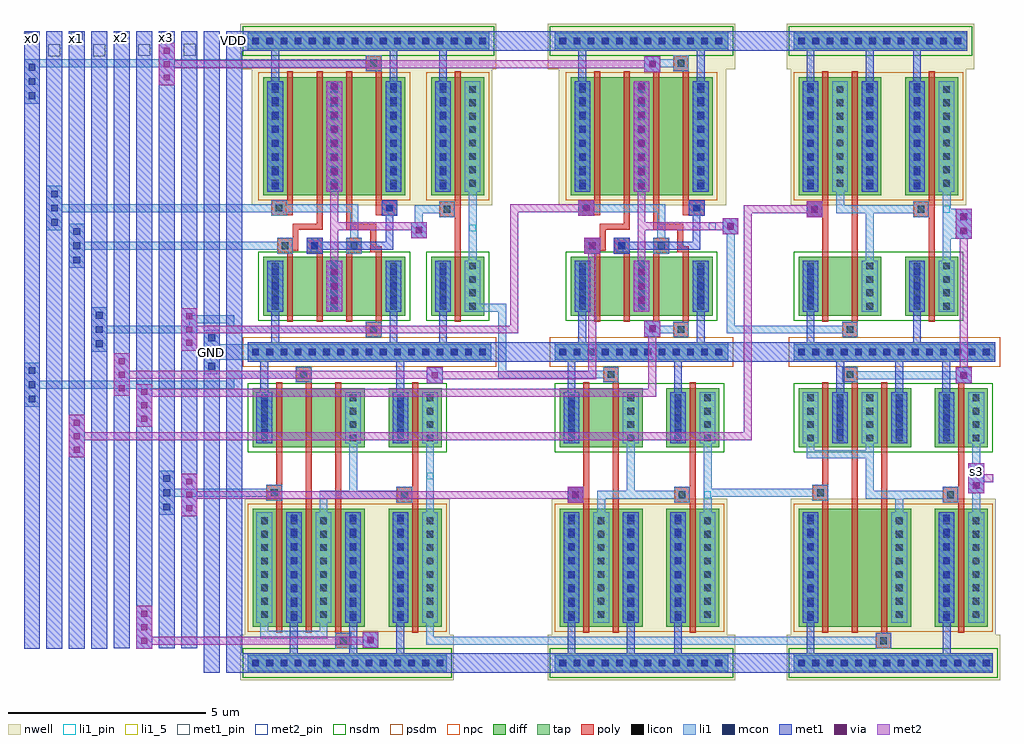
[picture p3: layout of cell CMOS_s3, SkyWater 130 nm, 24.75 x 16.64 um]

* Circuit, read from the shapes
.subckt CMOS_s3 GND VDD s3 x0 x0_bar x1 x1_bar x2 x2_bar x3 x3_bar
XM1 n1 x3 GND GND sky130_fd_pr__nfet_01v8 w=1.5 l=0.15
XM2 n2 x1 GND GND sky130_fd_pr__nfet_01v8 w=1.5 l=0.15
XM3 n3 x0 n1 GND sky130_fd_pr__nfet_01v8 w=1.5 l=0.15
XM4 n4 x0 n2 GND sky130_fd_pr__nfet_01v8 w=1.5 l=0.15
XM5 n5 x2_bar n3 GND sky130_fd_pr__nfet_01v8 w=1.5 l=0.15
XM6 n6 x0_bar n4 GND sky130_fd_pr__nfet_01v8 w=1.5 l=0.15
XM7 GND x1_bar n6 GND sky130_fd_pr__nfet_01v8 w=1.5 l=0.15
XM8 CMOS_3in_OR_4/C n5 GND GND sky130_fd_pr__nfet_01v8 w=1.5 l=0.15
XM9 CMOS_AND_2/A n4 GND GND sky130_fd_pr__nfet_01v8 w=1.5 l=0.15
XM10 n7 x3_bar GND GND sky130_fd_pr__nfet_01v8 w=1.5 l=0.15
XM11 n8 x2 GND GND sky130_fd_pr__nfet_01v8 w=1.5 l=0.15
XM12 n9 CMOS_AND_2/A n7 GND sky130_fd_pr__nfet_01v8 w=1.5 l=0.15
XM13 CMOS_AND_3/A x3 n8 GND sky130_fd_pr__nfet_01v8 w=1.5 l=0.15
XM14 n10 x3_bar CMOS_AND_3/A GND sky130_fd_pr__nfet_01v8 w=1.5 l=0.15
XM15 GND x2_bar n10 GND sky130_fd_pr__nfet_01v8 w=1.5 l=0.15
XM16 CMOS_3in_OR_4/A n9 GND GND sky130_fd_pr__nfet_01v8 w=1.5 l=0.15
XM17 GND CMOS_3in_OR_4/A n11 GND sky130_fd_pr__nfet_01v8 w=1.5 l=0.15
XM18 n12 x1 GND GND sky130_fd_pr__nfet_01v8 w=1.5 l=0.15
XM19 n11 CMOS_AND_3/AND GND GND sky130_fd_pr__nfet_01v8 w=1.5 l=0.15
XM20 n13 CMOS_AND_3/A n12 GND sky130_fd_pr__nfet_01v8 w=1.5 l=0.15
XM21 GND CMOS_3in_OR_4/C n11 GND sky130_fd_pr__nfet_01v8 w=1.5 l=0.15
XM22 CMOS_AND_3/AND n13 GND GND sky130_fd_pr__nfet_01v8 w=1.5 l=0.15
XM23 s3 n11 GND GND sky130_fd_pr__nfet_01v8 w=1.5 l=0.15
XM24 VDD x3 n5 VDD sky130_fd_pr__pfet_01v8 w=3 l=0.15
XM25 n14 x0_bar VDD VDD sky130_fd_pr__pfet_01v8 w=3 l=0.15
XM26 n5 x0 VDD VDD sky130_fd_pr__pfet_01v8 w=3 l=0.15
XM27 n4 x1 n14 VDD sky130_fd_pr__pfet_01v8 w=3 l=0.15
XM28 VDD x2_bar n5 VDD sky130_fd_pr__pfet_01v8 w=3 l=0.15
XM29 n15 x1_bar n4 VDD sky130_fd_pr__pfet_01v8 w=3 l=0.15
XM30 VDD x0 n15 VDD sky130_fd_pr__pfet_01v8 w=3 l=0.15
XM31 CMOS_3in_OR_4/C n5 VDD VDD sky130_fd_pr__pfet_01v8 w=3 l=0.15
XM32 CMOS_AND_2/A n4 VDD VDD sky130_fd_pr__pfet_01v8 w=3 l=0.15
XM33 n9 x3_bar VDD VDD sky130_fd_pr__pfet_01v8 w=3 l=0.15
XM34 n16 x3_bar VDD VDD sky130_fd_pr__pfet_01v8 w=3 l=0.15
XM35 VDD CMOS_AND_2/A n9 VDD sky130_fd_pr__pfet_01v8 w=3 l=0.15
XM36 CMOS_AND_3/A x2 n16 VDD sky130_fd_pr__pfet_01v8 w=3 l=0.15
XM37 n17 x2_bar CMOS_AND_3/A VDD sky130_fd_pr__pfet_01v8 w=3 l=0.15
XM38 VDD x3 n17 VDD sky130_fd_pr__pfet_01v8 w=3 l=0.15
XM39 CMOS_3in_OR_4/A n9 VDD VDD sky130_fd_pr__pfet_01v8 w=3 l=0.15
XM40 n18 CMOS_3in_OR_4/A VDD VDD sky130_fd_pr__pfet_01v8 w=3 l=0.15
XM41 n13 x1 VDD VDD sky130_fd_pr__pfet_01v8 w=3 l=0.15
XM42 n19 CMOS_AND_3/AND n18 VDD sky130_fd_pr__pfet_01v8 w=3 l=0.15
XM43 VDD CMOS_AND_3/A n13 VDD sky130_fd_pr__pfet_01v8 w=3 l=0.15
XM44 n11 CMOS_3in_OR_4/C n19 VDD sky130_fd_pr__pfet_01v8 w=3 l=0.15
XM45 CMOS_AND_3/AND n13 VDD VDD sky130_fd_pr__pfet_01v8 w=3 l=0.15
XM46 s3 n11 VDD VDD sky130_fd_pr__pfet_01v8 w=3 l=0.15
.ends

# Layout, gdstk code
import gdstk
lib = gdstk.Library(unit=1e-6, precision=1e-09)
def R(c, l, rs):  # rectangles x0, y0, x1, y1
    for r in rs: c.add(gdstk.rectangle(r[:2], r[2:], *l))
def A(c, l, x, y, w, h, nx, ny, dx, dy):  # array of equal rectangles
    R(c, l, [(x+i*dx, y+j*dy, x+i*dx+w, y+j*dy+h) for i in range(nx) for j in range(ny)])
nwell = (64, 20)
diff = (65, 20)
tap = (65, 44)
poly = (66, 20)
licon = (66, 44)
li1_5 = (67, 5)
li1_pin = (67, 16)
li1 = (67, 20)
mcon = (67, 44)
met1_pin = (68, 16)
met1 = (68, 20)
via = (68, 44)
met2_pin = (69, 16)
met2 = (69, 20)
nsdm = (93, 44)
psdm = (94, 20)
npc = (95, 20)

cmos_xor = lib.new_cell('CMOS_XOR')
R(cmos_xor, nwell, [(-2.1,-0.25,2.15,3.2), (-2.38,3.2,2.38,4.35)])
R(cmos_xor, diff, [(-1.8,-3.05,1.8,-1.55), (-1.8,0,1.8,3)])
R(cmos_xor, tap, [(-2.2,-4.22,2.2,-3.72), (-2.2,3.67,2.2,4.17)])
A(cmos_xor, poly, -1.2, -3.2, 0.15, 1.725, 3, 1, 0.75, 0)
R(cmos_xor, poly, [(0.8,-3.6,1.2,-3.2), (1.05,-3.2,1.2,-1.44), (-1.45,-1.475,-1.05,-1.4), (-0.7,-1.475,-0.3,-1.075), (0.3,-1.475,0.7,-1.075), (0.91,-1.44,1.2,-1.29), (-1.45,-1.4,-0.91,-1.075), (0.91,-1.29,1.06,-0.865), (-1.06,-1.075,-0.91,-0.865), (-1.06,-0.865,-0.3,-0.715), (0.3,-0.865,1.06,-0.715), (-0.45,-0.715,-0.3,3.15), (0.3,-0.715,0.45,3.15), (-1.6,-0.52,-1.2,-0.505), (1.2,-0.52,1.6,-0.505), (-1.6,-0.505,-1.05,-0.12), (1.05,-0.505,1.6,-0.12), (-1.2,-0.12,-1.05,3.15), (1.05,-0.12,1.2,3.15), (0.8,3.15,1.2,3.55)])
A(cmos_xor, licon, -2.085, -4.055, 0.17, 0.17, 12, 2, 0.36, 7.89)
A(cmos_xor, licon, -1.585, -2.895, 0.17, 0.17, 3, 4, 1.5, 0.34)
A(cmos_xor, licon, -1.585, 0.225, 0.17, 0.17, 3, 8, 1.5, 0.34)
R(cmos_xor, licon, [(0.915,-3.485,1.085,-3.315), (-1.335,-1.36,-1.165,-1.19), (-0.585,-1.36,-0.415,-1.19), (0.415,-1.36,0.585,-1.19), (-1.485,-0.405,-1.315,-0.235), (1.315,-0.405,1.485,-0.235), (0.915,3.265,1.085,3.435)])
R(cmos_xor, li1_pin, [(0.915,-3.485,1.085,-3.315), (-1.335,-1.36,-1.165,-1.19), (-1.515,-0.445,-1.27,-0.21), (0.915,3.265,1.085,3.435)])
A(cmos_xor, li1, -1.7, -2.95, 0.4, 1.3, 3, 1, 1.5, 0)
A(cmos_xor, li1, -1.7, 0.1, 0.4, 2.8, 3, 1, 1.5, 0)
R(cmos_xor, li1, [(-2.2,-4.17,2.2,-3.77), (0.8,-3.6,1.2,-3.2), (-1.45,-1.475,-1.05,-1.075), (-0.7,-1.475,-0.3,-1.075), (0.3,-1.475,0.7,-1.075), (0.4,-1.075,0.6,-0.42), (-1.6,-0.52,-1.2,-0.42), (1.2,-0.52,1.6,-0.12), (-1.6,-0.42,0.6,-0.22), (-1.6,-0.22,-1.2,-0.12), (0.8,3.15,1.2,3.55), (-2.2,3.72,2.2,4.12)])
A(cmos_xor, mcon, -2.085, -4.055, 0.17, 0.17, 12, 2, 0.36, 7.89)
A(cmos_xor, mcon, -1.585, -2.745, 0.17, 0.17, 3, 3, 1.5, 0.36)
A(cmos_xor, mcon, -1.585, 0.155, 0.17, 0.17, 3, 8, 1.5, 0.36)
R(cmos_xor, mcon, [(-0.585,-1.36,-0.415,-1.19), (1.315,-0.405,1.485,-0.235)])
R(cmos_xor, met1_pin, [(-0.3,-4.07,-0.1,-3.87), (-0.3,3.82,-0.1,4.02)])
A(cmos_xor, met1, -1.7, -2.95, 0.4, 1.3, 3, 1, 1.5, 0)
A(cmos_xor, met1, -1.7, 0.1, 0.4, 2.8, 3, 1, 1.5, 0)
R(cmos_xor, met1, [(-2.2,-4.22,2.2,-3.72), (-1.6,-3.72,-1.4,-2.95), (1.4,-3.72,1.6,-2.95), (-0.7,-1.475,-0.3,-1.375), (-0.7,-1.375,1.495,-1.175), (-0.7,-1.175,-0.3,-1.075), (1.3,-1.175,1.495,-0.52), (1.2,-0.52,1.6,-0.12), (-1.6,2.9,-1.4,3.67), (1.4,2.9,1.6,3.67), (-2.2,3.67,2.2,4.17)])
A(cmos_xor, via, -0.075, -2.735, 0.15, 0.15, 1, 3, 0, 0.36)
A(cmos_xor, via, -0.075, 0.165, 0.15, 0.15, 1, 8, 0, 0.36)
R(cmos_xor, met2_pin, [(1.7,-0.87,1.88,-0.69)])
R(cmos_xor, met2, [(-0.2,-2.95,0.2,-1.65), (-0.1,-1.65,0.1,-0.88), (-0.1,-0.88,2.15,-0.68), (-0.1,-0.68,0.1,0.1), (-0.2,0.1,0.2,2.9)])
R(cmos_xor, nsdm, [(-1.925,-3.175,1.925,-1.425), (-2.325,3.545,2.325,4.295)])
R(cmos_xor, psdm, [(-2.325,-4.345,2.325,-3.595), (-1.925,-0.125,1.925,3.125)])
R(cmos_xor, npc, [(0.815,-3.585,1.185,-3.215), (-1.435,-1.46,-1.065,-1.09), (-0.685,-1.46,-0.315,-1.09), (0.315,-1.46,0.685,-1.09), (-1.585,-0.505,-1.215,-0.135), (1.215,-0.505,1.585,-0.135), (0.815,3.165,1.185,3.535)])
cmos_xor.add(gdstk.Label('GND!', (-0.2,-3.97), layer=68, texttype=16))
cmos_xor.add(gdstk.Label('VDD', (-0.2,3.92), layer=68, texttype=16))
cmos_xor.add(gdstk.Label('B', (1,3.35), layer=67, texttype=16))
cmos_xor.add(gdstk.Label('A_bar', (1,-3.4), layer=67, texttype=16))
cmos_xor.add(gdstk.Label('A', (-1.25,-1.275), layer=67, texttype=16))
cmos_xor.add(gdstk.Label('B_bar', (-1.392,-0.327), layer=67, texttype=16))
cmos_xor.add(gdstk.Label('XOR', (1.79,-0.78), layer=69, texttype=16))

cmos_xnor = lib.new_cell('CMOS_XNOR')
R(cmos_xnor, nwell, [(-2.965,-0.25,3.14,3.2), (-3.245,3.2,3.245,4.35)])
R(cmos_xnor, diff, [(-2.665,-3.05,0.935,-1.55), (1.59,-3.05,2.94,-1.55), (-2.665,0,0.935,3), (1.59,0,2.94,3)])
R(cmos_xnor, tap, [(-3.065,-4.22,3.12,-3.72), (-3.065,3.67,3.065,4.17)])
A(cmos_xnor, poly, -2.065, -3.2, 0.15, 1.725, 3, 1, 0.75, 0)
R(cmos_xnor, poly, [(-0.065,-3.6,0.335,-3.2), (0.185,-3.2,0.335,-1.44), (2.19,-3.2,2.34,-0.55), (-2.315,-1.475,-1.915,-1.4), (-1.565,-1.475,-1.165,-1.075), (-0.565,-1.475,-0.165,-1.075), (0.045,-1.44,0.335,-1.29), (-2.315,-1.4,-1.775,-1.075), (0.045,-1.29,0.195,-0.865), (-1.925,-1.075,-1.775,-0.865), (-1.925,-0.865,-1.165,-0.715), (-0.565,-0.865,0.195,-0.715), (-1.315,-0.715,-1.165,3.15), (-0.565,-0.715,-0.415,3.15), (1.79,-0.55,2.34,-0.15), (-2.465,-0.52,-2.065,-0.505), (0.335,-0.52,0.735,-0.505), (-2.465,-0.505,-1.915,-0.12), (0.185,-0.505,0.735,-0.12), (2.19,-0.15,2.34,3.15), (-2.065,-0.12,-1.915,3.15), (0.185,-0.12,0.335,3.15), (-0.065,3.15,0.335,3.55)])
A(cmos_xnor, licon, -2.95, -4.055, 0.17, 0.17, 17, 2, 0.36, 7.89)
A(cmos_xnor, licon, -2.45, -2.895, 0.17, 0.17, 3, 4, 1.5, 0.34)
A(cmos_xnor, licon, 1.805, -2.895, 0.17, 0.17, 1, 4, 0, 0.34)
A(cmos_xnor, licon, 2.555, -2.895, 0.17, 0.17, 1, 4, 0, 0.34)
A(cmos_xnor, licon, -2.45, 0.225, 0.17, 0.17, 3, 8, 1.5, 0.34)
A(cmos_xnor, licon, 1.805, 0.225, 0.17, 0.17, 1, 8, 0, 0.34)
A(cmos_xnor, licon, 2.555, 0.225, 0.17, 0.17, 1, 8, 0, 0.34)
R(cmos_xnor, licon, [(0.05,-3.485,0.22,-3.315), (-2.2,-1.36,-2.03,-1.19), (-1.45,-1.36,-1.28,-1.19), (-0.45,-1.36,-0.28,-1.19), (1.905,-0.435,2.075,-0.265), (-2.35,-0.405,-2.18,-0.235), (0.45,-0.405,0.62,-0.235), (0.05,3.265,0.22,3.435)])
R(cmos_xnor, li1_5, [(1.905,-0.435,2.075,-0.265)])
R(cmos_xnor, li1_pin, [(0.05,-3.485,0.22,-3.315), (-2.2,-1.36,-2.03,-1.19), (2.555,-0.91,2.725,-0.74), (-2.38,-0.445,-2.135,-0.21), (0.05,3.265,0.22,3.435)])
A(cmos_xnor, li1, -2.565, -2.95, 0.4, 1.3, 3, 1, 1.5, 0)
A(cmos_xnor, li1, -2.565, 0.1, 0.4, 2.8, 3, 1, 1.5, 0)
R(cmos_xnor, li1, [(-3.065,-4.17,3.12,-3.77), (-0.065,-3.6,0.335,-3.2), (1.69,-2.95,2.09,-1.65), (2.44,-2.95,2.84,-1.65), (2.54,-1.65,2.74,0.1), (-2.315,-1.475,-1.915,-1.075), (-1.565,-1.475,-1.165,-1.075), (-0.565,-1.475,-0.165,-1.075), (1.08,-1.08,1.48,-0.68), (-0.465,-1.075,-0.265,-0.42), (1.18,-0.68,1.38,-0.45), (1.79,-0.55,2.19,-0.45), (-2.465,-0.52,-2.065,-0.42), (0.335,-0.52,0.735,-0.12), (1.18,-0.45,2.19,-0.25), (-2.465,-0.42,-0.265,-0.22), (1.79,-0.25,2.19,-0.15), (-2.465,-0.22,-2.065,-0.12), (1.69,0.1,2.09,2.9), (2.44,0.1,2.84,2.9), (-0.065,3.15,0.335,3.55), (-3.065,3.72,3.065,4.12)])
A(cmos_xnor, mcon, -2.95, -4.055, 0.17, 0.17, 17, 2, 0.36, 7.89)
A(cmos_xnor, mcon, -2.45, -2.745, 0.17, 0.17, 3, 3, 1.5, 0.36)
A(cmos_xnor, mcon, 1.805, -2.745, 0.17, 0.17, 1, 3, 0, 0.36)
A(cmos_xnor, mcon, -2.45, 0.155, 0.17, 0.17, 3, 8, 1.5, 0.36)
A(cmos_xnor, mcon, 1.805, 0.155, 0.17, 0.17, 1, 8, 0, 0.36)
R(cmos_xnor, mcon, [(-1.45,-1.36,-1.28,-1.19), (1.195,-0.965,1.365,-0.795), (0.45,-0.405,0.62,-0.235)])
R(cmos_xnor, met1_pin, [(-1.165,-4.07,-0.965,-3.87), (-1.165,3.82,-0.965,4.02)])
A(cmos_xnor, met1, -2.565, -2.95, 0.4, 1.3, 3, 1, 1.5, 0)
A(cmos_xnor, met1, -2.565, 0.1, 0.4, 2.8, 3, 1, 1.5, 0)
R(cmos_xnor, met1, [(-3.065,-4.22,3.12,-3.72), (-2.465,-3.72,-2.265,-2.95), (0.535,-3.72,0.735,-2.95), (1.79,-3.72,1.99,-2.95), (1.69,-2.95,2.09,-1.65), (-1.565,-1.475,-1.165,-1.375), (-1.565,-1.375,0.63,-1.175), (-1.565,-1.175,-1.165,-1.075), (0.435,-1.175,0.63,-0.52), (1.08,-1.08,1.48,-0.68), (0.335,-0.52,0.735,-0.12), (1.69,0.1,2.09,2.9), (-2.465,2.9,-2.265,3.67), (0.535,2.9,0.735,3.67), (1.79,2.9,1.99,3.67), (-3.065,3.67,3.065,4.17)])
A(cmos_xnor, via, -0.94, -2.735, 0.15, 0.15, 1, 3, 0, 0.36)
A(cmos_xnor, via, -0.94, 0.165, 0.15, 0.15, 1, 8, 0, 0.36)
R(cmos_xnor, via, [(1.205,-0.955,1.355,-0.805)])
R(cmos_xnor, met2, [(-1.065,-2.95,-0.665,-1.65), (-0.965,-1.65,-0.765,-0.88), (1.08,-1.08,1.48,-0.88), (-0.965,-0.88,1.48,-0.68), (-0.965,-0.68,-0.765,0.1), (-1.065,0.1,-0.665,2.9)])
R(cmos_xnor, nsdm, [(-2.79,-3.175,1.06,-1.425), (1.465,-3.175,3.065,-1.425), (-3.19,3.545,3.19,4.295)])
R(cmos_xnor, psdm, [(-3.19,-4.345,3.245,-3.595), (-2.79,-0.125,1.06,3.125), (1.465,-0.125,3.065,3.125)])
R(cmos_xnor, npc, [(-0.05,-3.585,0.32,-3.215), (-2.3,-1.46,-1.93,-1.09), (-1.55,-1.46,-1.18,-1.09), (-0.55,-1.46,-0.18,-1.09), (1.805,-0.535,2.175,-0.165), (-2.45,-0.505,-2.08,-0.135), (0.35,-0.505,0.72,-0.135), (-0.05,3.165,0.32,3.535)])
cmos_xnor.add(gdstk.Label('GND!', (-1.065,-3.97), layer=68, texttype=16))
cmos_xnor.add(gdstk.Label('VDD', (-1.065,3.92), layer=68, texttype=16))
cmos_xnor.add(gdstk.Label('XNOR', (2.64,-0.825), layer=67, texttype=16))
cmos_xnor.add(gdstk.Label('B', (0.135,3.35), layer=67, texttype=16))
cmos_xnor.add(gdstk.Label('A_bar', (0.135,-3.4), layer=67, texttype=16))
cmos_xnor.add(gdstk.Label('A', (-2.115,-1.275), layer=67, texttype=16))
cmos_xnor.add(gdstk.Label('B_bar', (-2.257,-0.327), layer=67, texttype=16))

cmos_and = lib.new_cell('CMOS_AND')
R(cmos_and, nwell, [(-2.275,-0.25,2.175,3.2), (-2.38,3.2,2.38,4.35)])
R(cmos_and, diff, [(-2.075,-3.05,0.025,-1.55), (0.625,-3.05,1.975,-1.55), (-2.075,0,0.025,3), (0.625,0,1.975,3)])
R(cmos_and, tap, [(-2.2,-4.22,2.2,-3.72), (-2.2,3.67,2.2,4.17)])
R(cmos_and, poly, [(-0.975,-3.6,-0.575,-3.2), (-1.475,-3.2,-1.325,-0.55), (-0.725,-3.2,-0.575,3.15), (1.225,-3.2,1.375,-0.55), (-1.875,-0.55,-1.325,-0.15), (0.825,-0.55,1.375,-0.15), (-1.475,-0.15,-1.325,3.15), (1.225,-0.15,1.375,3.15)])
A(cmos_and, licon, -2.085, -4.055, 0.17, 0.17, 12, 2, 0.36, 7.89)
A(cmos_and, licon, -1.86, -2.895, 0.17, 0.17, 1, 4, 0, 0.34)
A(cmos_and, licon, -0.36, -2.895, 0.17, 0.17, 1, 4, 0, 0.34)
A(cmos_and, licon, 0.84, -2.895, 0.17, 0.17, 1, 4, 0, 0.34)
A(cmos_and, licon, 1.59, -2.895, 0.17, 0.17, 1, 4, 0, 0.34)
A(cmos_and, licon, -1.86, 0.225, 0.17, 0.17, 3, 8, 0.75, 0.34)
A(cmos_and, licon, 0.84, 0.225, 0.17, 0.17, 1, 8, 0, 0.34)
A(cmos_and, licon, 1.59, 0.225, 0.17, 0.17, 1, 8, 0, 0.34)
R(cmos_and, licon, [(-0.86,-3.485,-0.69,-3.315), (-1.76,-0.435,-1.59,-0.265), (0.94,-0.435,1.11,-0.265)])
R(cmos_and, li1_pin, [(-0.86,-3.485,-0.69,-3.315), (-1.76,-0.435,-1.59,-0.265), (1.59,-0.435,1.76,-0.265)])
A(cmos_and, li1, -1.975, 0.1, 0.4, 2.8, 3, 1, 0.75, 0)
R(cmos_and, li1, [(-2.2,-4.17,2.2,-3.77), (-0.975,-3.6,-0.575,-3.2), (-1.975,-2.95,-1.575,-1.65), (-0.475,-2.95,-0.075,-1.65), (0.725,-2.95,1.125,-1.65), (1.475,-2.95,1.875,-1.65), (-0.375,-1.65,-0.175,-0.45), (1.575,-1.65,1.775,0.1), (-1.875,-0.55,-1.475,-0.15), (0.825,-0.55,1.225,-0.45), (-1.125,-0.45,1.225,-0.25), (-1.125,-0.25,-0.925,0.1), (0.825,-0.25,1.225,-0.15), (0.725,0.1,1.125,2.9), (1.475,0.1,1.875,2.9), (-2.2,3.72,2.2,4.12)])
A(cmos_and, mcon, -2.085, -4.055, 0.17, 0.17, 12, 2, 0.36, 7.89)
A(cmos_and, mcon, -1.86, -2.745, 0.17, 0.17, 1, 3, 0, 0.36)
A(cmos_and, mcon, 0.84, -2.745, 0.17, 0.17, 1, 3, 0, 0.36)
A(cmos_and, mcon, -1.86, 0.155, 0.17, 0.17, 1, 8, 0, 0.36)
A(cmos_and, mcon, -0.36, 0.155, 0.17, 0.17, 1, 8, 0, 0.36)
A(cmos_and, mcon, 0.84, 0.155, 0.17, 0.17, 1, 8, 0, 0.36)
R(cmos_and, met1_pin, [(-0.3,-4.07,-0.1,-3.87), (-0.3,3.82,-0.1,4.02)])
R(cmos_and, met1, [(-2.2,-4.22,2.2,-3.72), (-1.875,-3.72,-1.675,-2.95), (0.825,-3.72,1.025,-2.95), (-1.975,-2.95,-1.575,-1.65), (0.725,-2.95,1.125,-1.65), (-1.975,0.1,-1.575,2.9), (-0.475,0.1,-0.075,2.9), (0.725,0.1,1.125,2.9), (-1.875,2.9,-1.675,3.67), (-0.37,2.9,-0.17,3.67), (0.825,2.9,1.025,3.67), (-2.2,3.67,2.2,4.17)])
R(cmos_and, nsdm, [(-2.2,-3.175,2.1,-1.425), (-2.325,3.545,2.325,4.295)])
R(cmos_and, psdm, [(-2.325,-4.345,2.325,-3.595), (-2.2,-0.125,2.1,3.125)])
R(cmos_and, npc, [(-0.96,-3.585,-0.59,-3.215), (-1.86,-0.535,-1.49,-0.165), (0.84,-0.535,1.21,-0.165)])
cmos_and.add(gdstk.Label('GND!', (-0.2,-3.97), layer=68, texttype=16))
cmos_and.add(gdstk.Label('VDD', (-0.2,3.92), layer=68, texttype=16))
cmos_and.add(gdstk.Label('AND', (1.675,-0.35), layer=67, texttype=16))
cmos_and.add(gdstk.Label('A', (-0.775,-3.4), layer=67, texttype=16))
cmos_and.add(gdstk.Label('B', (-1.675,-0.35), layer=67, texttype=16))

cmos_3in_or = lib.new_cell('CMOS_3in_OR')
R(cmos_3in_or, nwell, [(-2.6,-0.25,2.6,3.2), (-2.705,3.2,2.705,4.35)])
R(cmos_3in_or, diff, [(-2.4,-3.05,0.45,-1.55), (1.05,-3.05,2.4,-1.55), (-2.4,0,0.45,3), (1.05,0,2.4,3)])
R(cmos_3in_or, tap, [(-2.525,-4.22,2.58,-3.72), (-2.525,3.67,2.525,4.17)])
R(cmos_3in_or, poly, [(-1.3,-3.6,-0.9,-3.2), (-1.8,-3.2,-1.65,-0.6), (-1.05,-3.2,-0.9,3.15), (-0.3,-3.2,-0.15,3.15), (1.65,-3.2,1.8,-0.55), (-2.05,-0.6,-1.65,-0.2), (1.25,-0.55,1.8,-0.15), (-1.8,-0.2,-1.65,3.15), (1.65,-0.15,1.8,3.15), (-0.45,3.15,-0.05,3.55)])
A(cmos_3in_or, licon, -2.41, -4.055, 0.17, 0.17, 14, 2, 0.36, 7.89)
A(cmos_3in_or, licon, -2.185, -2.895, 0.17, 0.17, 4, 4, 0.75, 0.34)
A(cmos_3in_or, licon, 1.265, -2.895, 0.17, 0.17, 1, 4, 0, 0.34)
A(cmos_3in_or, licon, 2.015, -2.895, 0.17, 0.17, 1, 4, 0, 0.34)
A(cmos_3in_or, licon, -2.185, 0.225, 0.17, 0.17, 1, 8, 0, 0.34)
A(cmos_3in_or, licon, 0.065, 0.225, 0.17, 0.17, 1, 8, 0, 0.34)
A(cmos_3in_or, licon, 1.265, 0.225, 0.17, 0.17, 1, 8, 0, 0.34)
A(cmos_3in_or, licon, 2.015, 0.225, 0.17, 0.17, 1, 8, 0, 0.34)
R(cmos_3in_or, licon, [(-1.185,-3.485,-1.015,-3.315), (-1.935,-0.485,-1.765,-0.315), (1.365,-0.435,1.535,-0.265), (-0.335,3.265,-0.165,3.435)])
R(cmos_3in_or, li1_pin, [(-1.185,-3.485,-1.015,-3.315), (2.015,-1,2.185,-0.83), (-1.935,-0.485,-1.765,-0.315), (-0.335,3.265,-0.165,3.435)])
A(cmos_3in_or, li1, -2.3, -2.95, 0.4, 1.3, 4, 1, 0.75, 0)
R(cmos_3in_or, li1, [(-2.525,-4.17,2.58,-3.77), (-1.3,-3.6,-0.9,-3.2), (1.15,-2.95,1.55,-1.65), (1.9,-2.95,2.3,-1.65), (-2.2,-1.65,-2,-1.48), (-0.7,-1.65,-0.5,-1.48), (2,-1.65,2.2,0.1), (-2.2,-1.48,-0.5,-1.28), (-0.7,-1.28,-0.5,-0.45), (-2.05,-0.6,-1.65,-0.2), (1.25,-0.55,1.65,-0.45), (-0.7,-0.45,1.65,-0.25), (0.05,-0.25,0.25,0.1), (1.25,-0.25,1.65,-0.15), (-2.3,0.1,-1.9,2.9), (-0.05,0.1,0.35,2.9), (1.15,0.1,1.55,2.9), (1.9,0.1,2.3,2.9), (-0.45,3.15,-0.05,3.55), (-2.525,3.72,2.525,4.12)])
A(cmos_3in_or, mcon, -2.41, -4.055, 0.17, 0.17, 14, 2, 0.36, 7.89)
A(cmos_3in_or, mcon, -1.435, -2.745, 0.17, 0.17, 1, 3, 0, 0.36)
A(cmos_3in_or, mcon, 0.065, -2.745, 0.17, 0.17, 1, 3, 0, 0.36)
A(cmos_3in_or, mcon, 1.265, -2.745, 0.17, 0.17, 1, 3, 0, 0.36)
A(cmos_3in_or, mcon, -2.185, 0.155, 0.17, 0.17, 1, 8, 0, 0.36)
A(cmos_3in_or, mcon, 1.265, 0.155, 0.17, 0.17, 1, 8, 0, 0.36)
R(cmos_3in_or, met1_pin, [(-0.625,-4.07,-0.425,-3.87), (-0.625,3.82,-0.425,4.02)])
R(cmos_3in_or, met1, [(-2.525,-4.22,2.58,-3.72), (-1.45,-3.72,-1.25,-2.95), (0.05,-3.72,0.25,-2.95), (1.245,-3.72,1.445,-2.95), (-1.55,-2.95,-1.15,-1.65), (-0.05,-2.95,0.35,-1.65), (1.15,-2.95,1.55,-1.65), (-2.3,0.1,-1.9,2.9), (1.15,0.1,1.55,2.9), (-2.2,2.9,-2,3.67), (1.255,2.9,1.455,3.67), (-2.525,3.67,2.525,4.17)])
R(cmos_3in_or, nsdm, [(-2.525,-3.175,2.525,-1.425), (-2.65,3.545,2.65,4.295)])
R(cmos_3in_or, psdm, [(-2.65,-4.345,2.705,-3.595), (-2.525,-0.125,2.525,3.125)])
R(cmos_3in_or, npc, [(-1.285,-3.585,-0.915,-3.215), (-2.035,-0.585,-1.665,-0.215), (1.265,-0.535,1.635,-0.165), (-0.435,3.165,-0.065,3.535)])
cmos_3in_or.add(gdstk.Label('GND!', (-0.525,-3.97), layer=68, texttype=16))
cmos_3in_or.add(gdstk.Label('VDD', (-0.525,3.92), layer=68, texttype=16))
cmos_3in_or.add(gdstk.Label('A', (-1.85,-0.4), layer=67, texttype=16))
cmos_3in_or.add(gdstk.Label('B', (-1.1,-3.4), layer=67, texttype=16))
cmos_3in_or.add(gdstk.Label('C', (-0.25,3.35), layer=67, texttype=16))
cmos_3in_or.add(gdstk.Label('OR', (2.1,-0.915), layer=67, texttype=16))

cmos_3in_and = lib.new_cell('CMOS_3in_AND')
R(cmos_3in_and, nwell, [(-2.6,-0.25,2.6,3.2), (-2.705,3.2,2.705,4.35)])
R(cmos_3in_and, diff, [(-2.4,-3.05,0.45,-1.55), (1.05,-3.05,2.4,-1.55), (-2.4,0,0.45,3), (1.05,0,2.4,3)])
R(cmos_3in_and, tap, [(-2.525,-4.22,2.58,-3.72), (-2.525,3.67,2.525,4.17)])
R(cmos_3in_and, poly, [(-1.3,-3.6,-0.9,-3.2), (-1.8,-3.2,-1.65,-0.6), (-1.05,-3.2,-0.9,3.15), (-0.3,-3.2,-0.15,3.15), (1.65,-3.2,1.8,-0.55), (-2.05,-0.6,-1.65,-0.2), (1.25,-0.55,1.8,-0.15), (-1.8,-0.2,-1.65,3.15), (1.65,-0.15,1.8,3.15), (-0.3,3.15,0.1,3.55)])
A(cmos_3in_and, licon, -2.41, -4.055, 0.17, 0.17, 14, 2, 0.36, 7.89)
A(cmos_3in_and, licon, -2.185, -2.895, 0.17, 0.17, 1, 4, 0, 0.34)
A(cmos_3in_and, licon, 0.065, -2.895, 0.17, 0.17, 1, 4, 0, 0.34)
A(cmos_3in_and, licon, 1.265, -2.895, 0.17, 0.17, 1, 4, 0, 0.34)
A(cmos_3in_and, licon, 2.015, -2.895, 0.17, 0.17, 1, 4, 0, 0.34)
A(cmos_3in_and, licon, -2.185, 0.225, 0.17, 0.17, 4, 8, 0.75, 0.34)
A(cmos_3in_and, licon, 1.265, 0.225, 0.17, 0.17, 1, 8, 0, 0.34)
A(cmos_3in_and, licon, 2.015, 0.225, 0.17, 0.17, 1, 8, 0, 0.34)
R(cmos_3in_and, licon, [(-1.185,-3.485,-1.015,-3.315), (-1.935,-0.485,-1.765,-0.315), (1.365,-0.435,1.535,-0.265), (-0.185,3.265,-0.015,3.435)])
R(cmos_3in_and, li1_pin, [(-1.185,-3.485,-1.015,-3.315), (2.015,-0.91,2.185,-0.74), (-1.935,-0.485,-1.765,-0.315), (-0.185,3.265,-0.015,3.435)])
A(cmos_3in_and, li1, -2.3, 0.1, 0.4, 2.8, 4, 1, 0.75, 0)
R(cmos_3in_and, li1, [(-2.525,-4.17,2.58,-3.77), (-1.3,-3.6,-0.9,-3.2), (-2.3,-2.95,-1.9,-1.65), (-0.05,-2.95,0.35,-1.65), (1.15,-2.95,1.55,-1.65), (1.9,-2.95,2.3,-1.65), (0.05,-1.65,0.25,-0.45), (2,-1.65,2.2,0.1), (-2.05,-0.6,-1.65,-0.2), (1.25,-0.55,1.65,-0.45), (-0.7,-0.45,1.65,-0.25), (-0.7,-0.25,-0.5,0.1), (1.25,-0.25,1.65,-0.15), (1.15,0.1,1.55,2.9), (1.9,0.1,2.3,2.9), (-2.2,2.9,-2,3.1), (-0.7,2.9,-0.5,3.1), (-2.2,3.1,-0.5,3.3), (-0.3,3.15,0.1,3.55), (-2.525,3.72,2.525,4.12)])
A(cmos_3in_and, mcon, -2.41, -4.055, 0.17, 0.17, 14, 2, 0.36, 7.89)
A(cmos_3in_and, mcon, -2.185, -2.745, 0.17, 0.17, 1, 3, 0, 0.36)
A(cmos_3in_and, mcon, 1.265, -2.745, 0.17, 0.17, 1, 3, 0, 0.36)
A(cmos_3in_and, mcon, -1.435, 0.155, 0.17, 0.17, 1, 8, 0, 0.36)
A(cmos_3in_and, mcon, 0.065, 0.155, 0.17, 0.17, 1, 8, 0, 0.36)
A(cmos_3in_and, mcon, 1.265, 0.155, 0.17, 0.17, 1, 8, 0, 0.36)
R(cmos_3in_and, met1_pin, [(-0.625,-4.07,-0.425,-3.87), (-0.625,3.82,-0.425,4.02)])
R(cmos_3in_and, met1, [(-2.525,-4.22,2.58,-3.72), (-2.2,-3.72,-2,-2.95), (1.25,-3.72,1.45,-2.95), (-2.3,-2.95,-1.9,-1.65), (1.15,-2.95,1.55,-1.65), (-1.55,0.1,-1.15,2.9), (-0.05,0.1,0.35,2.9), (1.15,0.1,1.55,2.9), (-1.45,2.9,-1.25,3.67), (0.05,2.9,0.25,3.67), (1.25,2.9,1.45,3.67), (-2.525,3.67,2.525,4.17)])
R(cmos_3in_and, nsdm, [(-2.525,-3.175,2.525,-1.425), (-2.65,3.545,2.65,4.295)])
R(cmos_3in_and, psdm, [(-2.65,-4.345,2.705,-3.595), (-2.525,-0.125,2.525,3.125)])
R(cmos_3in_and, npc, [(-1.285,-3.585,-0.915,-3.215), (-2.035,-0.585,-1.665,-0.215), (1.265,-0.535,1.635,-0.165), (-0.285,3.165,0.085,3.535)])
cmos_3in_and.add(gdstk.Label('VDD', (-0.525,3.92), layer=68, texttype=16))
cmos_3in_and.add(gdstk.Label('GND!', (-0.525,-3.97), layer=68, texttype=16))
cmos_3in_and.add(gdstk.Label('A', (-0.1,3.35), layer=67, texttype=16))
cmos_3in_and.add(gdstk.Label('B', (-1.1,-3.4), layer=67, texttype=16))
cmos_3in_and.add(gdstk.Label('C', (-1.85,-0.4), layer=67, texttype=16))
cmos_3in_and.add(gdstk.Label('OUT', (2.1,-0.825), layer=67, texttype=16))

cmos_s3 = lib.new_cell('CMOS_s3')
R(cmos_s3, li1, [(-3.79,-7.5,-3.39,-7.42), (-4.08,-7.42,-3.39,-7.22), (-2.18,-7.42,9.22,-7.22), (-3.79,-7.22,-3.39,-7.1), (-2.18,-7.22,-1.98,-6.87), (-8.955,-4.13,-8.555,-3.67), (1.525,-3.705,1.695,-3.535), (-8.955,-3.67,-6.23,-3.47), (5.06,-3.67,7.62,-3.47), (11.575,-3.585,11.975,-2.825), (-8.955,-3.47,-8.555,-3.01), (-12.375,-1.39,-11.975,-0.93), (-12.375,-0.93,-7.045,-0.73), (11.255,-0.79,11.655,-0.69), (-12.375,-0.73,-11.975,-0.27), (-7.245,-0.73,-7.045,-0.68), (8.77,-0.69,11.655,-0.49), (-7.245,-0.68,-5.48,-0.48), (-0.35,-0.67,2.31,-0.47), (-7.815,-0.56,-7.415,-0.2), (11.255,-0.49,11.655,-0.39), (-0.35,-0.47,-0.15,1.02), (-7.815,-0.2,-6.705,0.2), (-10.665,0.01,-10.265,0.47), (-7.815,0.2,-7.415,0.56), (3.36,0.39,3.76,0.47), (-10.665,0.47,-7.985,0.67), (-7.245,0.47,-3.705,0.67), (3.36,0.47,4.085,0.67), (5.445,0.47,8.37,0.67), (-10.665,0.67,-10.265,1.13), (-8.185,0.67,-7.985,0.73), (-7.245,0.67,-7.045,0.73), (3.36,0.67,3.76,0.79), (5.445,0.67,5.645,2.99), (-8.185,0.73,-7.045,0.93), (-0.8,1.02,-0.15,1.22), (-11.235,2.135,-10.835,2.595), (-11.235,2.595,-5.955,2.795), (1.95,2.61,2.12,2.78), (-11.235,2.795,-10.835,3.255), (11.12,2.87,11.655,3.63), (5.34,2.99,5.74,3.39), (-11.805,3.09,-11.405,3.55), (7.585,3.535,7.755,3.705), (-11.805,3.55,-6.105,3.75), (1.8,3.565,1.97,3.735), (-11.805,3.75,-11.405,4.21), (-12.375,6.3,-11.975,7.22), (3.36,7.1,3.76,7.22), (-12.375,7.22,-3.705,7.42), (3.36,7.22,4.085,7.42), (3.36,7.42,3.76,7.5)])
A(cmos_s3, mcon, -8.84, -4.015, 0.17, 0.17, 1, 3, 0, 0.36)
A(cmos_s3, mcon, -12.26, -1.275, 0.17, 0.17, 1, 3, 0, 0.36)
A(cmos_s3, mcon, -7.7, -0.445, 0.17, 0.17, 1, 3, 0, 0.36)
A(cmos_s3, mcon, -10.55, 0.125, 0.17, 0.17, 1, 3, 0, 0.36)
A(cmos_s3, mcon, -11.12, 2.25, 0.17, 0.17, 1, 3, 0, 0.36)
A(cmos_s3, mcon, -11.69, 3.205, 0.17, 0.17, 1, 3, 0, 0.36)
A(cmos_s3, mcon, -12.26, 6.415, 0.17, 0.17, 1, 3, 0, 0.36)
R(cmos_s3, mcon, [(-3.675,-7.385,-3.505,-7.215), (1.525,-3.705,1.695,-3.535), (11.69,-3.47,11.86,-3.3), (11.69,-3.11,11.86,-2.94), (11.37,-0.675,11.54,-0.505), (3.475,0.505,3.645,0.675), (1.95,2.61,2.12,2.78), (11.37,2.985,11.54,3.155), (5.455,3.105,5.625,3.275), (11.37,3.345,11.54,3.515), (7.585,3.535,7.755,3.705), (1.8,3.565,1.97,3.735), (3.475,7.215,3.645,7.385)])
R(cmos_s3, met1_pin, [(-7.7,-0.085,-7.53,0.085), (-11.76,7.505,-11.455,7.805), (-10.615,7.505,-10.31,7.805), (-9.48,7.51,-9.175,7.81), (-8.33,7.515,-8.025,7.815), (-12.325,7.81,-12.02,8.11), (-11.185,7.81,-10.88,8.11), (-7.155,7.81,-6.985,7.98), (-10.045,7.815,-9.74,8.115), (-8.905,7.815,-8.6,8.115)])
A(cmos_s3, met1, 5.485, -8.14, 1.66, 0.5, 1, 3, 0, 7.89)
A(cmos_s3, met1, -12.375, -7.52, 0.4, 15.66, 4, 1, 0.57, 0)
R(cmos_s3, met1, [(-7.815,-8.14,-7.415,8.14), (-7.245,-8.14,-6.705,-7.64), (-1.655,-8.14,1.085,-7.64), (-7.245,-7.64,-6.845,7.64), (-9.525,-7.52,-9.125,8.14), (-10.095,-7.515,-9.695,8.14), (-8.955,-7.515,-8.555,8.14), (-8.385,-7.515,-7.985,8.14), (-3.79,-7.5,-3.39,-7.1), (1.41,-3.82,1.81,-3.42), (11.575,-3.585,11.975,-2.825), (-2.16,-0.79,-1.76,-0.39), (11.255,-0.79,11.655,-0.39), (-0.52,-0.25,1.085,0.25), (3.36,0.39,3.76,0.79), (1.835,2.495,2.235,2.895), (11.255,2.87,11.655,3.63), (5.34,2.99,5.74,3.39), (7.47,3.42,7.87,3.82), (1.685,3.45,2.085,3.85), (3.36,7.1,3.76,7.5), (-7.245,7.64,-6.705,8.14), (-0.575,7.64,1.085,8.14)])
A(cmos_s3, via, -9.4, -7.395, 0.15, 0.15, 1, 3, 0, 0.34)
A(cmos_s3, via, -8.26, -4.04, 0.15, 0.15, 1, 3, 0, 0.34)
A(cmos_s3, via, -11.11, -2.55, 0.15, 0.15, 1, 3, 0, 0.34)
A(cmos_s3, via, -9.4, -1.77, 0.15, 0.15, 1, 3, 0, 0.34)
A(cmos_s3, via, -9.97, -0.99, 0.15, 0.15, 1, 3, 0, 0.34)
A(cmos_s3, via, -8.26, 0.155, 0.15, 0.15, 1, 3, 0, 0.34)
A(cmos_s3, via, -8.83, 6.885, 0.15, 0.15, 1, 3, 0, 0.34)
R(cmos_s3, via, [(-3.665,-7.375,-3.515,-7.225), (1.535,-3.695,1.685,-3.545), (11.7,-3.46,11.85,-3.31), (11.7,-3.1,11.85,-2.95), (-2.035,-0.665,-1.885,-0.515), (11.38,-0.665,11.53,-0.515), (3.485,0.515,3.635,0.665), (1.96,2.62,2.11,2.77), (11.38,2.995,11.53,3.145), (5.465,3.115,5.615,3.265), (11.38,3.355,11.53,3.505), (7.595,3.545,7.745,3.695), (1.81,3.575,1.96,3.725), (3.485,7.225,3.635,7.375)])
R(cmos_s3, met2_pin, [(11.69,-3.11,11.86,-2.94)])
R(cmos_s3, met2, [(-9.525,-7.52,-9.125,-7.42), (-3.79,-7.5,-3.39,-7.42), (-9.525,-7.42,-3.39,-7.22), (-9.525,-7.22,-9.125,-6.44), (-3.79,-7.22,-3.39,-7.1), (-8.385,-4.165,-7.985,-3.725), (1.41,-3.82,1.81,-3.725), (-8.385,-3.725,1.81,-3.525), (11.575,-3.585,11.975,-3.305), (-8.385,-3.525,-7.985,-3.085), (1.41,-3.525,1.81,-3.42), (11.575,-3.305,12.2,-3.105), (11.575,-3.105,11.975,-2.825), (-11.235,-2.675,-10.835,-2.235), (-11.235,-2.235,6.08,-2.035), (-11.235,-2.035,-10.835,-1.595), (5.88,-2.035,6.08,3.52), (-9.525,-1.895,-9.125,-1.13), (-9.525,-1.13,3.66,-0.93), (-10.095,-1.115,-9.695,-0.675), (-9.525,-0.93,-9.125,-0.815), (3.46,-0.93,3.66,0.39), (-2.16,-0.79,-1.76,-0.69), (11.255,-0.79,11.655,-0.39), (-2.16,-0.69,2.135,-0.675), (-10.095,-0.675,2.135,-0.49), (-10.095,-0.49,-1.76,-0.475), (1.935,-0.49,2.135,2.495), (-10.095,-0.475,-9.695,-0.035), (-2.16,-0.475,-1.76,-0.39), (11.355,-0.39,11.555,2.87), (-8.385,0.03,-7.985,0.47), (3.36,0.39,3.76,0.79), (-8.385,0.47,0.16,0.67), (-8.385,0.67,-7.985,1.11), (-0.04,0.67,0.16,3.55), (1.835,2.495,2.235,2.895), (11.255,2.87,11.655,3.63), (5.34,2.99,5.74,3.39), (7.47,3.42,7.87,3.52), (1.685,3.45,2.085,3.55), (5.88,3.52,7.87,3.72), (-0.04,3.55,2.085,3.75), (7.47,3.72,7.87,3.82), (1.685,3.75,2.085,3.85), (-8.955,6.76,-8.555,7.2), (3.36,7.1,3.76,7.2), (-8.955,7.2,3.76,7.4), (-8.955,7.4,-8.555,7.84), (3.36,7.4,3.76,7.5)])
cmos_s3.add(gdstk.Reference(cmos_xor, (3.285,3.97)))
cmos_s3.add(gdstk.Reference(cmos_xnor, (-3.64,3.97)))
cmos_s3.add(gdstk.Reference(cmos_and, (3.285,-3.97), x_reflection=True))
cmos_s3.add(gdstk.Reference(cmos_and, (9.345,3.97)))
cmos_s3.add(gdstk.Reference(cmos_3in_or, (9.67,-3.97), x_reflection=True))
cmos_s3.add(gdstk.Reference(cmos_3in_and, (-4.18,-3.97), x_reflection=True))
cmos_s3.add(gdstk.Label('GND', (-7.615,0), layer=68, texttype=16))
cmos_s3.add(gdstk.Label('x0', (-12.172,7.96), layer=68, texttype=16))
cmos_s3.add(gdstk.Label('x0_bar', (-11.607,7.655), layer=68, texttype=16))
cmos_s3.add(gdstk.Label('x1', (-11.032,7.96), layer=68, texttype=16))
cmos_s3.add(gdstk.Label('x1_bar', (-10.462,7.655), layer=68, texttype=16))
cmos_s3.add(gdstk.Label('x2', (-9.892,7.965), layer=68, texttype=16))
cmos_s3.add(gdstk.Label('x2_bar', (-9.327,7.66), layer=68, texttype=16))
cmos_s3.add(gdstk.Label('x3', (-8.752,7.965), layer=68, texttype=16))
cmos_s3.add(gdstk.Label('VDD', (-7.07,7.895), layer=68, texttype=16))
cmos_s3.add(gdstk.Label('x3_bar', (-8.177,7.665), layer=68, texttype=16))
cmos_s3.add(gdstk.Label('s3', (11.775,-3.025), layer=69, texttype=16))

lib.write_gds('CMOS_s3.gds')
